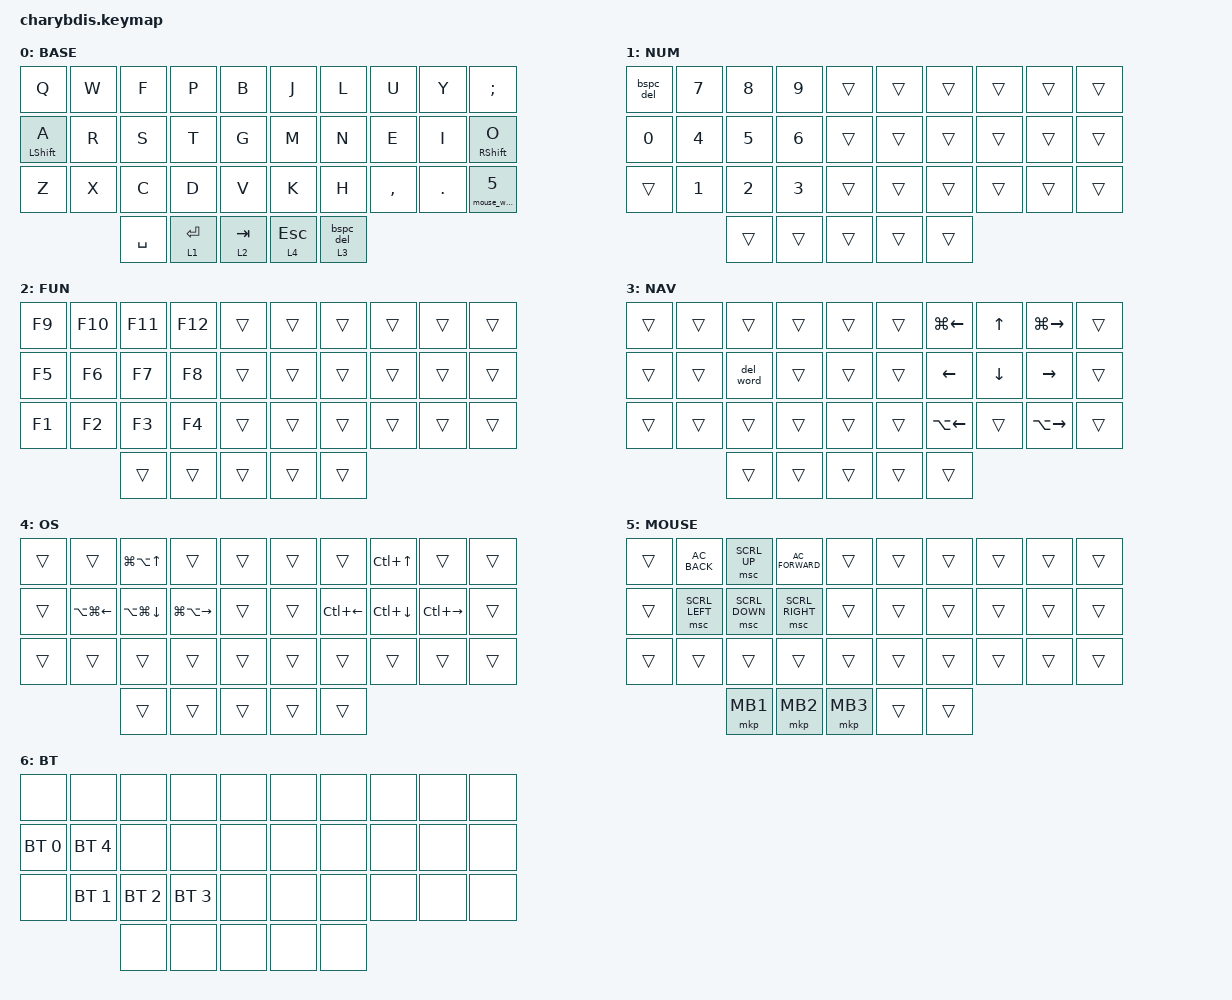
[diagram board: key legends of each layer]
#include <behaviors.dtsi>
#include <dt-bindings/zmk/bt.h>
#include <dt-bindings/zmk/keys.h>
#include <dt-bindings/zmk/modifiers.h>
#include <dt-bindings/zmk/pointing.h>
#include <dt-bindings/zmk/rgb.h>

&lt {
    tapping-term-ms = <320>;
    flavor = "tap-preferred";
    quick-tap-ms = <175>;
    require-prior-idle-ms = <150>;
    hold-trigger-on-release;
};

&sk { quick-release; };

/ {
    macros {
        To1_macro: To1_macro {
            compatible = "zmk,behavior-macro";
            label = "To1_macro";
            #binding-cells = <0>;
            bindings = <&rgb_ug RGB_EFF &rgb_ug RGB_COLOR_HSB(128,100,50) &to 0>;
        };

        To0_macro: To0_macro {
            compatible = "zmk,behavior-macro";
            label = "To0_macro";
            #binding-cells = <0>;
            bindings = <&rgb_ug RGB_EFR &to 0>;
        };

        To2_macro: To2_macro {
            compatible = "zmk,behavior-macro";
            label = "To2_macro";
            #binding-cells = <0>;
            bindings =
                <&to 0>,
                <&macro_wait_time 30>,
                <&rgb_ug RGB_COLOR_HSB(250,100,50)>;
        };

        del_word: del_word {
            compatible = "zmk,behavior-macro";
            #binding-cells = <0>;
            bindings = <&kp LA(BACKSPACE)>;
            label = "DEL_WORD";
        };

        cut: cut {
            compatible = "zmk,behavior-macro";
            #binding-cells = <0>;
            bindings = <&kp LG(X)>;
            label = "CUT";
        };

        copy: copy {
            compatible = "zmk,behavior-macro";
            #binding-cells = <0>;
            bindings = <&kp LG(C)>;
            label = "COPY";
        };

        paste: paste {
            compatible = "zmk,behavior-macro";
            #binding-cells = <0>;
            bindings = <&kp LG(V)>;
            label = "PASTE";
        };

        undo: undo {
            compatible = "zmk,behavior-macro";
            #binding-cells = <0>;
            bindings = <&kp LG(Z)>;
            label = "UNDO";
        };

        redo: redo {
            compatible = "zmk,behavior-macro";
            #binding-cells = <0>;
            bindings = <&kp LG(LS(Z))>;
            label = "REDO";
        };
    };

    combos {
        compatible = "zmk,combos";

        at {
            bindings = <&kp AT_SIGN>;
            key-positions = <10 1>;
        };

        kor_eng {
            bindings = <&kp F19>;
            key-positions = <11 2>;
        };

        slash {
            bindings = <&kp SLASH>;
            key-positions = <12 3>;
        };

        lparen {
            bindings = <&kp LEFT_PARENTHESIS>;
            key-positions = <0 1>;
        };

        rparen {
            bindings = <&kp RIGHT_PARENTHESIS>;
            key-positions = <0 2>;
        };

        lbrace {
            bindings = <&kp LEFT_BRACE>;
            key-positions = <1 2>;
        };

        rbrace {
            bindings = <&kp RIGHT_BRACE>;
            key-positions = <1 3>;
        };

        lbrack {
            bindings = <&kp LEFT_BRACKET>;
            key-positions = <2 3>;
        };

        rbrack {
            bindings = <&kp RIGHT_BRACKET>;
            key-positions = <2 4>;
        };

        lctl {
            bindings = <&sk LCTRL>;
            key-positions = <10 12>;
            require-prior-idle-ms = <40>;
        };

        lalt {
            bindings = <&kp LEFT_ALT>;
            key-positions = <12 11>;
            require-prior-idle-ms = <40>;
        };

        lmet {
            bindings = <&kp LEFT_GUI>;
            key-positions = <12 13>;
            require-prior-idle-ms = <40>;
        };

        lctl+lalt {
            bindings = <&kp LG(LALT)>;
            key-positions = <12 13 11>;
            require-prior-idle-ms = <40>;
        };

        cut {
            bindings = <&cut>;
            key-positions = <20 21>;
        };

        copy {
            bindings = <&copy>;
            key-positions = <21 22>;
        };

        paste {
            bindings = <&paste>;
            key-positions = <22 23>;
        };

        undo {
            bindings = <&undo>;
            key-positions = <22 20>;
        };

        redo {
            bindings = <&redo>;
            key-positions = <23 21>;
        };

        exclamation {
            bindings = <&kp EXCLAMATION>;
            key-positions = <11 1>;
        };

        ampers {
            bindings = <&kp AMPERSAND>;
            key-positions = <2 12>;
        };

        dollar {
            bindings = <&kp DOLLAR>;
            key-positions = <3 13>;
        };

        percent {
            bindings = <&kp PERCENT>;
            key-positions = <12 23>;
        };

        tilde {
            bindings = <&kp TILDE>;
            key-positions = <8 9>;
        };

        apo {
            bindings = <&kp SINGLE_QUOTE>;
            key-positions = <7 8>;
        };

        quo {
            bindings = <&kp DOUBLE_QUOTES>;
            key-positions = <7 6>;
        };

        rctrl {
            bindings = <&kp LEFT_CONTROL>;
            key-positions = <17 19>;
            require-prior-idle-ms = <40>;
        };

        ralt {
            bindings = <&kp LEFT_ALT>;
            key-positions = <17 18>;
            require-prior-idle-ms = <40>;
        };

        rmet {
            bindings = <&kp RIGHT_META>;
            key-positions = <17 16>;
            require-prior-idle-ms = <40>;
        };

        k {
            bindings = <&kp V>;
            key-positions = <25 26>;
        };

        eq {
            bindings = <&kp EQUAL>;
            key-positions = <26 27>;
        };

        minus {
            bindings = <&kp MINUS>;
            key-positions = <28 27>;
        };

        plus {
            bindings = <&kp PLUS>;
            key-positions = <25 27>;
        };

        underscore {
            bindings = <&kp UNDERSCORE>;
            key-positions = <26 28>;
        };

        question {
            bindings = <&kp QUESTION>;
            key-positions = <8 18>;
        };

        pipe {
            bindings = <&kp PIPE>;
            key-positions = <17 7>;
        };

        caret {
            bindings = <&kp CARET>;
            key-positions = <6 16>;
        };

        star {
            bindings = <&kp STAR>;
            key-positions = <9 18>;
        };

        grave {
            bindings = <&kp GRAVE>;
            key-positions = <19 8>;
        };

        capsword {
            bindings = <&caps_word>;
            key-positions = <18 7>;
        };

        bslash {
            bindings = <&kp BACKSLASH>;
            key-positions = <6 17>;
        };

        hash {
            bindings = <&kp HASH>;
            key-positions = <17 26>;
        };

        rctl+ralt {
            bindings = <&kp RG(RIGHT_ALT)>;
            key-positions = <17 16 18>;
            require-prior-idle-ms = <40>;
        };

        clear_bt_profile {
            bindings = <&bt BT_CLR>;
            key-positions = <0 9>;
            layers = <6>;
        };
    };

    behaviors {
        // Shift alone changes Backspace to forward Delete, without Shift.
        bspc_shift_del: backspace_shift_delete {
            compatible = "zmk,behavior-mod-morph";
            #binding-cells = <0>;
            bindings = <&kp BACKSPACE>, <&kp DELETE>;
            mods = <(MOD_LSFT | MOD_RSFT)>;
        };

        // Preserve all Ctrl/Alt/GUI + Backspace combinations, including Shift.
        bspc_del: backspace_delete {
            compatible = "zmk,behavior-mod-morph";
            #binding-cells = <0>;
            bindings = <&bspc_shift_del>, <&kp BACKSPACE>;
            mods = <(MOD_LCTL | MOD_RCTL | MOD_LALT | MOD_RALT | MOD_LGUI | MOD_RGUI)>;
            keep-mods = <(MOD_LCTL | MOD_RCTL | MOD_LALT | MOD_RALT | MOD_LGUI | MOD_RGUI)>;
        };

        // Keep the original Backspace/NAV hold-tap timing with the new tap action.
        bspc_nav: backspace_nav {
            compatible = "zmk,behavior-hold-tap";
            #binding-cells = <2>;
            bindings = <&mo>, <&bspc_del>;
            tapping-term-ms = <320>;
            flavor = "tap-preferred";
            quick-tap-ms = <175>;
            require-prior-idle-ms = <150>;
            hold-trigger-on-release;
        };

        // 'mouse_word' 라는 이름의 새로운 자동 레이어 동작을 정의합니다.

        mouse_word: mouse_word {
            compatible = "zmk,behavior-auto-layer";
            #binding-cells = <1>;

            // 마우스 레이어가 켜진 상태에서, 아래 키들을 누르면 레이어가 꺼지지 않고 유지됩니다.
            // 사용자님의 키맵(layer_4)에 있는 마우스 클릭 키들을 여기에 모두 적어줍니다.

            continue-list = <LCLK RCLK MCLK>;
        };

        hrl_base: hrl_base {
            compatible = "zmk,behavior-hold-tap";
            label = "HRL_BASE";
            bindings = <&kp>, <&kp>;

            #binding-cells = <2>;
            hold-trigger-key-positions = <25 26 27 28 29 19 18 17 5 6 7 8 9 15 16 25 26 27 28 33 34 30 31 32>;
            flavor = "tap-preferred";
            tapping-term-ms = <320>;
            quick-tap-ms = <175>;
            require-prior-idle-ms = <150>;
            hold-trigger-on-release;
        };

        hrr_base: hrr_base {
            compatible = "zmk,behavior-hold-tap";
            label = "HRR_BASE";
            bindings = <&kp>, <&kp>;

            #binding-cells = <2>;
            tapping-term-ms = <320>;
            quick-tap-ms = <175>;
            require-prior-idle-ms = <150>;
            flavor = "tap-preferred";
            hold-trigger-on-release;
            hold-trigger-key-positions = <4 32 33 34 31 0 1 2 3 4 10 11 12 13 14 20 21 22 23 24 30 31 32>;
        };
    };

    keymap {
        compatible = "zmk,keymap";

        BASE {
            bindings = <
&kp Q              &kp W  &kp F      &kp P      &kp B        &kp J         &kp L            &kp U      &kp Y    &kp SEMI
&hrl_base LSHFT A  &kp R  &kp S      &kp T      &kp G        &kp M         &kp N            &kp E      &kp I    &hrr_base RSHFT O
&kp Z              &kp X  &kp C      &kp D      &kp V        &kp K         &kp H            &kp COMMA  &kp DOT  &mouse_word 5
                          &kp SPACE  &lt 1 RET  &lt 2 TAB    &lt 4 ESCAPE  &bspc_nav 3 0
            >;
        };

        NUM {
            bindings = <
&bspc_del  &kp N7  &kp N8  &kp N9  &trans    &trans  &trans  &trans  &trans  &trans
&kp N0    &kp N4  &kp N5  &kp N6  &trans    &trans  &trans  &trans  &trans  &trans
&trans    &kp N1  &kp N2  &kp N3  &trans    &trans  &trans  &trans  &trans  &trans
                  &trans  &trans  &trans    &trans  &trans
            >;
        };

        FUN {
            bindings = <
&kp F9  &kp F10  &kp F11  &kp F12  &trans    &trans  &trans  &trans  &trans  &trans
&kp F5  &kp F6   &kp F7   &kp F8   &trans    &trans  &trans  &trans  &trans  &trans
&kp F1  &kp F2   &kp F3   &kp F4   &trans    &trans  &trans  &trans  &trans  &trans
                &trans  &trans  &trans     &trans  &trans
            >;
        };

        NAV {
            bindings = <
&trans  &trans  &trans     &trans  &trans    &trans  &kp LG(LEFT)  &kp UP    &kp LG(RIGHT)  &trans
&trans  &trans  &del_word  &trans  &trans    &trans  &kp LEFT      &kp DOWN  &kp RIGHT      &trans
&trans  &trans  &trans     &trans  &trans    &trans  &kp LA(LEFT)  &trans    &kp LA(RIGHT)  &trans
                &trans     &trans  &trans    &trans  &trans
            >;
        };

        OS {
            bindings = <
&trans  &trans            &kp LG(LA(UP))    &trans             &trans    &trans  &trans        &kp LC(UP)    &trans         &trans
&trans  &kp LA(LG(LEFT))  &kp LA(LG(DOWN))  &kp LG(LA(RIGHT))  &trans    &trans  &kp LC(LEFT)  &kp LC(DOWN)  &kp LC(RIGHT)  &trans
&trans  &trans            &trans            &trans             &trans    &trans  &trans        &trans        &trans         &trans
                          &trans            &trans             &trans    &trans  &trans
            >;
        };

        MOUSE {
            bindings = <
&trans  &kp C_AC_BACK   &msc SCRL_UP    &kp C_AC_FORWARD  &trans      &trans  &trans  &trans  &trans  &trans
&trans  &msc SCRL_LEFT  &msc SCRL_DOWN  &msc SCRL_RIGHT   &trans      &trans  &trans  &trans  &trans  &trans
&trans  &trans          &trans          &trans            &trans      &trans  &trans  &trans  &trans  &trans
                        &mkp MB1        &mkp MB2          &mkp MB3    &trans  &trans
            >;
        };

        BT {
            bindings = <
&none         &none         &none         &none         &none    &none  &none  &none  &none  &none
&bt BT_SEL 0  &bt BT_SEL 4  &none         &none         &none    &none  &none  &none  &none  &none
&none         &bt BT_SEL 1  &bt BT_SEL 2  &bt BT_SEL 3  &none    &none  &none  &none  &none  &none
                            &none         &none         &none    &none  &none
            >;
        };

        /* layer_2 {
            bindings = <
&none  &none   &none    &none   &none         &none         &kp N1         &none         &none     &none  &none   &to 0
&none  &none   &none    &none   &none         &none         &none         &none          &rgb_ug RGB_BRD &rgb_ug RGB_BRI  &rgb_ug RGB_EFF   &rgb_ug RGB_TOG
&none  &none   &none    &none   &none         &none         &none         &mkp LCLK     &mkp RCLK  &none  &none   &none
&none  &none   &none    &none   &bt BT_NXT  &bt BT_CLR    &none         &none         &none     &none  &none   &none
                                   &none         &none         &none         &none         &none
                                                 &none         &none         &none
            >;
       
            
        };

       Mouse {
            bindings = <
&none        &none         &none         &none         &none      &none         &none       &none      &none         &none         &none         &none
&none        &bt BT_SEL 0  &bt BT_SEL 1  &bt BT_SEL 3  &none      &bt BT_CLR    &bt BT_CLR  &none      &bt BT_SEL 2  &bt BT_SEL 1  &bt BT_SEL 0  &none
&none        &trans        &trans        &mkp MCLK     &trans     &none         &none       &trans     &mkp MCLK     &trans        &trans        &none
&bootloader  &trans        &mkp RCLK     &mo 4         &mkp LCLK  &mo 5         &mo 5       &mkp LCLK  &mo 4         &mkp RCLK     &trans        &bootloader
                                         &mo 5         &mkp LCLK  &mkp RCLK     &mkp RCLK   &mkp LCLK
                                                       &none      &trans        &trans
            >;

            
        };

        layer_4 {
            bindings = <
&trans  &trans  &trans     &trans     &trans     &trans       &trans     &trans     &trans     &trans     &trans  &trans
&trans  &trans  &trans     &trans     &trans     &trans       &trans     &trans     &trans     &trans     &trans  &trans
&trans  &trans  &trans     &mkp MCLK  &trans     &trans       &trans     &trans     &mkp MCLK  &trans     &trans  &trans
&trans  &trans  &mkp RCLK  &trans     &mkp LCLK  &trans       &trans     &mkp LCLK  &trans     &mkp RCLK  &trans  &trans
                           &trans     &mkp LCLK  &mkp RCLK    &mkp RCLK  &mkp LCLK
                                      &trans     &trans       &trans
            >;
                
                
               
        };

        layer_5 {
            bindings = <
&trans  &trans  &trans     &trans     &trans     &trans       &trans     &trans     &trans     &trans     &trans  &trans
&trans  &trans  &trans     &trans     &trans     &trans       &trans     &trans     &trans     &trans     &trans  &trans
&trans  &trans  &trans     &mkp MCLK  &trans     &trans       &trans     &trans     &mkp MCLK  &trans     &trans  &trans
&trans  &trans  &mkp RCLK  &trans     &mkp LCLK  &trans       &trans     &mkp LCLK  &trans     &mkp RCLK  &trans  &trans
                           &trans     &mkp LCLK  &mkp RCLK    &mkp RCLK  &mkp LCLK
                                      &trans     &trans       &trans
            >;
                
                
        };*/
    };

    conditional_layers {
        compatible = "zmk,conditional-layers";

        blth {
            if-layers = <2 4>;
            then-layer = <6>;
        };
    };
};
